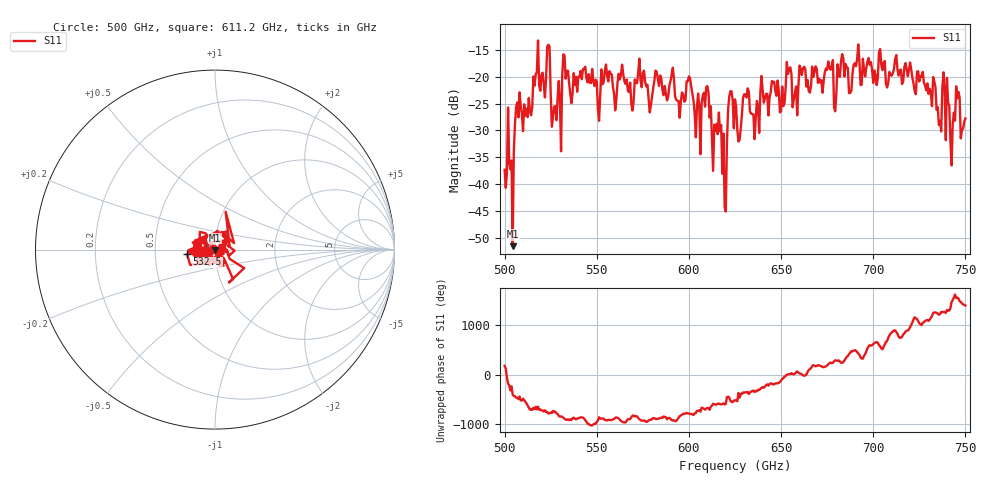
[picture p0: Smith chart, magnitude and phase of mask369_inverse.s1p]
!Created with skrf (http://scikit-rf.org).
# GHz S MA R 50.0
!freq magS11 angS11
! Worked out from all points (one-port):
!   401 points, 500 GHz to 750 GHz, reference 50 ohm
!   lowest |S11| = -51.6 dB at 504.4 GHz (marker M1), VSWR 1.01, Z = 50.2 - j0.179 ohm
!   |S11| at or under -10 dB: start of sweep to end of sweep
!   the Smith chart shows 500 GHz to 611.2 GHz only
!   S11 on the Smith chart (normalised r, x): 500 GHz: 0.97, +0.00; 532.5 GHz: 0.73, -0.04; 611.2 GHz: 1.09, +0.02
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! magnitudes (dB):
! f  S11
! 500 GHz  -37.3
! 504.4 GHz  -51.6
! 506.9 GHz  -24.7
! 513.8 GHz  -26.4
! 516.9 GHz  -19.6
! 523.8 GHz  -14.0
! 526.9 GHz  -25.6
! 531.2 GHz  -19.9
! 532.5 GHz  -16.0
! 550.6 GHz  -26.0
! 562.5 GHz  -20.5
! 593.8 GHz  -24.5
! 600 GHz  -19.9
! 605 GHz  -23.1
! 611.2 GHz  -27.6
! 617.5 GHz  -29.0
! 619.4 GHz  -44.3
! 622.5 GHz  -22.7
! 625 GHz  -24.2
! 656.2 GHz  -25.7
! 687.5 GHz  -23.0
! 691.2 GHz  -16.8
! 718.8 GHz  -19.9
! 735.6 GHz  -29.0
! 738.8 GHz  -22.3
! 743.1 GHz  -28.8
! 745.6 GHz  -24.0
! 750 GHz  -27.8
